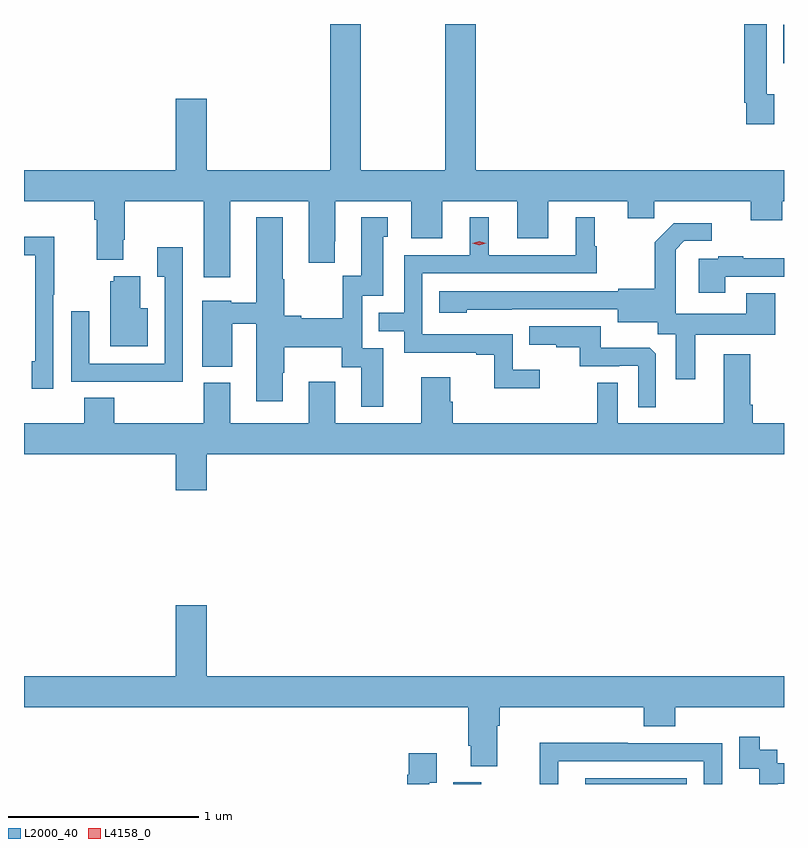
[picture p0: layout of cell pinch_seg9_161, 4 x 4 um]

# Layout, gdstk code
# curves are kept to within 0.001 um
import gdstk
lib = gdstk.Library(unit=1e-6, precision=1e-09)
def R(c, l, rs):  # rectangles x0, y0, x1, y1
    for r in rs: c.add(gdstk.rectangle(r[:2], r[2:], *l))
def P(c, l, *ps):  # polygons
    for p in ps: c.add(gdstk.Polygon(p, *l))
L2000_40 = (2000, 40)
L4158_0 = (4158, 0)

pinch_seg9_161 = lib.new_cell('pinch_seg9_161')
R(pinch_seg9_161, L2000_40, [(669.965,1177.369,670.112,1177.378), (670.659,1177.369,671.193,1177.398), (671.702,1181.162,671.705,1181.365)])
P(pinch_seg9_161, L2000_40, [(667.705,1180.436),(668.075,1180.436),(668.075,1180.34),(668.087,1180.34),(668.087,1180.127),(668.227,1180.127),(668.227,1180.234),(668.235,1180.234),(668.235,1180.436),(668.651,1180.436),(668.651,1180.035),(668.791,1180.035),(668.791,1180.436),(669.203,1180.436),(669.203,1180.113),(669.34,1180.113),(669.34,1180.225),(669.343,1180.225),(669.343,1180.436),(669.743,1180.436),(669.743,1180.242),(669.907,1180.242),(669.907,1180.436),(670.301,1180.436),(670.301,1180.242),(670.465,1180.242),(670.465,1180.436),(670.883,1180.436),(670.883,1180.346),(671.021,1180.346),(671.021,1180.436),(671.531,1180.436),(671.531,1180.337),(671.695,1180.337),(671.695,1180.436),(671.705,1180.436),(671.705,1180.6),(670.082,1180.6),(670.082,1181.369),(669.922,1181.369),(669.922,1180.6),(669.477,1180.6),(669.477,1181.369),(669.317,1181.369),(669.317,1180.6),(668.668,1180.6),(668.668,1180.975),(668.504,1180.975),(668.504,1180.6),(667.705,1180.6)],
  [(671.653,1180.998),(671.613,1180.998),(671.613,1181.369),(671.497,1181.369),(671.497,1180.954),(671.505,1180.954),(671.505,1180.842),(671.653,1180.842)],
  [(670.42,1179.55),(670.278,1179.55),(670.278,1179.735),(669.801,1179.735),(669.801,1180.056),(670.72,1180.056),(670.72,1180.2),(670.708,1180.2),(670.708,1180.351),(670.61,1180.351),(670.61,1180.152),(670.15,1180.152),(670.15,1180.351),(670.052,1180.351),(670.052,1180.152),(669.705,1180.152),(669.705,1179.849),(669.571,1179.849),(669.571,1179.753),(669.705,1179.753),(669.705,1179.639),(670.085,1179.639),(670.085,1179.627),(670.18,1179.627),(670.18,1179.452),(670.42,1179.452)],
  [(669.595,1179.663),(669.486,1179.663),(669.486,1179.939),(669.595,1179.939),(669.595,1180.248),(669.619,1180.248),(669.619,1180.351),(669.479,1180.351),(669.479,1180.044),(669.383,1180.044),(669.383,1179.82),(669.163,1179.82),(669.163,1179.833),(669.075,1179.833),(669.075,1180.025),(669.067,1180.025),(669.067,1180.351),(668.927,1180.351),(668.927,1179.901),(668.796,1179.901),(668.796,1179.913),(668.642,1179.913),(668.642,1179.566),(668.8,1179.566),(668.8,1179.792),(668.927,1179.792),(668.927,1179.384),(669.067,1179.384),(669.067,1179.534),(669.075,1179.534),(669.075,1179.668),(669.378,1179.668),(669.378,1179.562),(669.479,1179.562),(669.479,1179.354),(669.595,1179.354)],
  [(671.239,1179.734),(671.659,1179.734),(671.659,1179.953),(671.507,1179.953),(671.507,1179.844),(671.136,1179.844),(671.136,1180.085),(671.134,1180.085),(671.134,1180.18),(671.181,1180.227),(671.326,1180.227),(671.326,1180.321),(671.125,1180.321),(671.025,1180.221),(671.025,1179.976),(670.833,1179.976),(670.833,1179.963),(669.891,1179.963),(669.891,1179.848),(670.035,1179.848),(670.035,1179.866),(670.829,1179.867),(670.829,1179.8),(671.04,1179.8),(671.04,1179.736),(671.135,1179.736),(671.135,1179.498),(671.239,1179.498)],
  [(667.86,1179.943),(667.863,1179.943),(667.863,1180.25),(667.705,1180.25),(667.705,1180.152),(667.764,1180.152),(667.764,1179.594),(667.745,1179.594),(667.745,1179.45),(667.86,1179.45)],
  [(668.541,1180.195),(668.405,1180.195),(668.405,1180.039),(668.445,1180.039),(668.445,1179.582),(668.049,1179.582),(668.049,1179.856),(667.953,1179.856),(667.953,1179.486),(668.269,1179.486),(668.269,1179.485),(668.541,1179.485)],
  [(671.395,1180.038),(671.705,1180.038),(671.705,1180.136),(671.491,1180.136),(671.491,1180.147),(671.359,1180.147),(671.359,1180.134),(671.255,1180.134),(671.255,1179.954),(671.395,1179.954)],
  [(668.356,1179.874),(668.317,1179.874),(668.317,1180.042),(668.178,1180.042),(668.178,1180.014),(668.159,1180.014),(668.159,1179.674),(668.356,1179.674)],
  [(671.031,1179.633),(670.999,1179.665),(670.741,1179.665),(670.741,1179.777),(670.363,1179.777),(670.363,1179.68),(670.507,1179.68),(670.507,1179.669),(670.631,1179.669),(670.631,1179.567),(670.838,1179.567),(670.838,1179.57),(670.938,1179.57),(670.938,1179.353),(671.031,1179.353)],
  [(668.668,1179.104),(671.705,1179.104),(671.705,1179.268),(671.54,1179.268),(671.54,1179.364),(671.527,1179.364),(671.527,1179.631),(671.387,1179.631),(671.387,1179.268),(670.83,1179.268),(670.83,1179.482),(670.722,1179.482),(670.722,1179.268),(669.962,1179.268),(669.962,1179.381),(669.949,1179.381),(669.949,1179.511),(669.797,1179.511),(669.797,1179.268),(669.343,1179.268),(669.343,1179.487),(669.203,1179.487),(669.203,1179.268),(668.791,1179.268),(668.791,1179.481),(668.651,1179.481),(668.651,1179.268),(668.181,1179.268),(668.181,1179.401),(668.021,1179.401),(668.021,1179.268),(667.705,1179.268),(667.705,1179.104),(668.504,1179.104),(668.504,1178.916),(668.668,1178.916)],
  [(670.195,1177.676),(670.208,1177.676),(670.208,1177.772),(670.967,1177.772),(670.967,1177.673),(671.132,1177.673),(671.132,1177.772),(671.705,1177.772),(671.705,1177.936),(668.668,1177.936),(668.668,1178.311),(668.504,1178.311),(668.504,1177.936),(667.705,1177.936),(667.705,1177.772),(670.043,1177.772),(670.043,1177.57),(670.055,1177.57),(670.055,1177.463),(670.195,1177.463)],
  [(671.672,1177.371),(671.705,1177.371),(671.705,1177.479),(671.67,1177.479),(671.67,1177.548),(671.578,1177.548),(671.578,1177.618),(671.469,1177.618),(671.469,1177.449),(671.574,1177.449),(671.574,1177.369),(671.672,1177.369)],
  [(670.518,1177.488),(671.283,1177.488),(671.283,1177.369),(671.379,1177.369),(671.379,1177.584),(670.883,1177.584),(670.883,1177.586),(670.42,1177.586),(670.42,1177.369),(670.518,1177.369)],
  [(669.837,1177.375),(669.877,1177.375),(669.877,1177.531),(669.729,1177.531),(669.729,1177.418),(669.721,1177.418),(669.721,1177.369),(669.837,1177.369)])
P(pinch_seg9_161, L4158_0, [(670.101,1180.205),(670.065,1180.214),(670.065,1180.215),(670.065,1180.215),(670.101,1180.225),(670.137,1180.215),(670.137,1180.215),(670.137,1180.214)])

lib.write_gds('pinch_seg9_161.gds')
